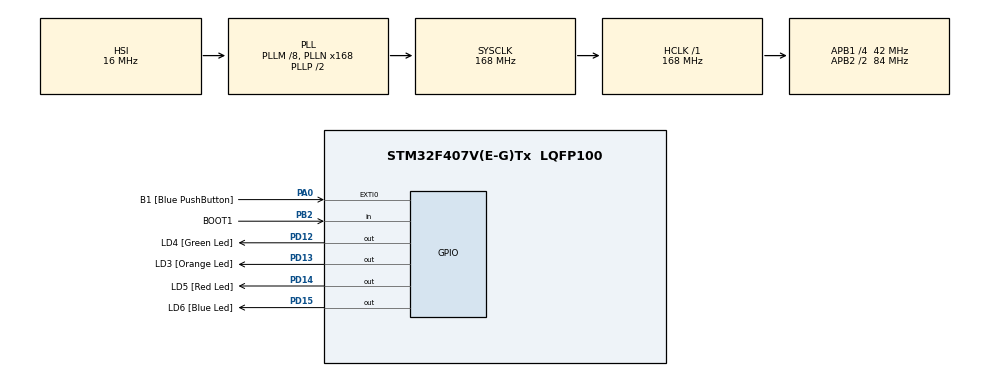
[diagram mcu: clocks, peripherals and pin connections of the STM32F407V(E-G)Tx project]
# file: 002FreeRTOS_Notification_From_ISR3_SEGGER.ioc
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Mcu.Family=STM32F4
Mcu.Name=STM32F407V(E-G)Tx
Mcu.Package=LQFP100
NVIC.EXTI0_IRQn=true\:6\:0\:true\:false\:true\:true\:true\:true
NVIC.PriorityGroup=NVIC_PRIORITYGROUP_4
NVIC.TIM1_UP_TIM10_IRQn=true\:15\:0\:false\:false\:true\:false\:true\:true
NVIC.TIM7_IRQn=true\:0\:0\:true\:false\:true\:true\:true\:true
NVIC.TimeBase=TIM1_UP_TIM10_IRQn
NVIC.TimeBaseIP=TIM10
PA0-WKUP.GPIO_Label=B1 [Blue PushButton]
PA0-WKUP.GPIO_ModeDefaultEXTI=GPIO_MODE_IT_FALLING
PA0-WKUP.Signal=GPXTI0
PA13.GPIO_Label=SWDIO
PA13.Mode=Serial_Wire
PA13.Signal=SYS_JTMS-SWDIO
PA14.GPIO_Label=SWCLK
PA14.Mode=Serial_Wire
PA14.Signal=SYS_JTCK-SWCLK
PB2.GPIO_Label=BOOT1
PB2.GPIO_Mode=GPIO_MODE_INPUT
PB2.GPIO_PuPd=GPIO_NOPULL
PB2.Signal=GPIO_Input
PB3.GPIO_Label=SWO
PB3.Signal=SYS_JTDO-SWO
PC14-OSC32_IN.GPIO_Label=PC14-OSC32_IN
PC14-OSC32_IN.Signal=RCC_OSC32_IN
PC15-OSC32_OUT.GPIO_Label=PC15-OSC32_OUT
PC15-OSC32_OUT.Signal=RCC_OSC32_OUT
PC3.GPIO_Label=PDM_OUT [MP45DT02_DOUT]
PC3.GPIO_Mode=GPIO_MODE_AF_PP
PC3.GPIO_PuPd=GPIO_NOPULL
PC3.GPIO_Speed=GPIO_SPEED_FREQ_LOW
PC3.Signal=I2S2_SD
PD12.GPIO_Label=LD4 [Green Led]
PD12.GPIO_PuPd=GPIO_NOPULL
PD12.GPIO_Speed=GPIO_SPEED_FREQ_LOW
PD12.Signal=GPIO_Output
PD13.GPIO_Label=LD3 [Orange Led]
PD13.GPIO_PuPd=GPIO_NOPULL
PD13.GPIO_Speed=GPIO_SPEED_FREQ_LOW
PD13.Signal=GPIO_Output
PD14.GPIO_Label=LD5 [Red Led]
PD14.GPIO_PuPd=GPIO_NOPULL
PD14.GPIO_Speed=GPIO_SPEED_FREQ_LOW
PD14.Signal=GPIO_Output
PD15.GPIO_Label=LD6 [Blue Led]
PD15.GPIO_PuPd=GPIO_NOPULL
PD15.GPIO_Speed=GPIO_SPEED_FREQ_LOW
PD15.Signal=GPIO_Output
PH0-OSC_IN.GPIO_Label=PH0-OSC_IN
PH0-OSC_IN.Signal=RCC_OSC_IN
PH1-OSC_OUT.GPIO_Label=PH1-OSC_OUT
PH1-OSC_OUT.Signal=RCC_OSC_OUT
ProjectManager.HeapSize=0x200
ProjectManager.StackSize=0x400
ProjectManager.TargetToolchain=STM32CubeIDE
RCC.48MHZClocksFreq_Value=48000000
RCC.AHBFreq_Value=168000000
RCC.APB1CLKDivider=RCC_HCLK_DIV4
RCC.APB1Freq_Value=42000000
RCC.APB1TimFreq_Value=84000000
RCC.APB2CLKDivider=RCC_HCLK_DIV2
RCC.APB2Freq_Value=84000000
RCC.APB2TimFreq_Value=168000000
RCC.CortexFreq_Value=168000000
RCC.HCLKFreq_Value=168000000
RCC.HSE_VALUE=8000000
RCC.HSI_VALUE=16000000
RCC.LSE_VALUE=32768
RCC.PLLM=8
RCC.PLLN=168
RCC.PLLQ=7
RCC.SYSCLKFreq_VALUE=168000000
RCC.SYSCLKSource=RCC_SYSCLKSOURCE_PLLCLK
RCC.VCOOutputFreq_Value=336000000
TIM7.AutoReloadPreload=TIM_AUTORELOAD_PRELOAD_ENABLE
TIM7.Period=59999
TIM7.Prescaler=8399
VP_SYS_VS_tim10.Mode=TIM10
VP_TIM7_VS_ClockSourceINT.Mode=Enable_Timer
board=STM32F407G-DISC1

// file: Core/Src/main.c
/* USER CODE BEGIN Header */
/**
  ******************************************************************************
  * @file           : main.c
  * @brief          : Main program body
  ******************************************************************************
  * @attention
  *
  * Copyright (c) 2024 STMicroelectronics.
  * All rights reserved.
  *
  * This software is licensed under terms that can be found in the LICENSE file
  * in the root directory of this software component.
  * If no LICENSE file comes with this software, it is provided AS-IS.
  *
  ******************************************************************************
  */
/* USER CODE END Header */
#include "main.h"

/* USER CODE BEGIN Includes */
#include "stdio.h"
#include "FreeRTOS.h"
#include "task.h"
/* USER CODE END Includes */

TIM_HandleTypeDef htim7;

void SystemClock_Config(void);
static void MX_GPIO_Init(void);
static void MX_TIM7_Init(void);
/* USER CODE BEGIN PFP */

static void taskLED_Green(void *paramters); //pd12
static void taskLED_RED(void *paramters);  //pd13
static void taskLED_Blue(void *paramters);  //pd14

TaskHandle_t taskLED_Green_Handle;
TaskHandle_t taskLED_Red_Handle;
TaskHandle_t taskLED_Blue_Handle;

TaskHandle_t taskHAndleToBeDeleted = NULL;

uint8_t isButtonPressProcessed = 0;

/* USER CODE END PFP */

int main(void)
{
  /* USER CODE BEGIN 1 */

	BaseType_t xtaskCreateStatus;

  /* USER CODE END 1 */

  /* MCU Configuration--------------------------------------------------------*/

  /* Reset of all peripherals, Initializes the Flash interface and the Systick. */
  HAL_Init();

  /* Configure the system clock */
  SystemClock_Config();

  /* Initialize all configured peripherals */
  MX_GPIO_Init();
  MX_TIM7_Init();
  /* USER CODE BEGIN 2 */

  //Enable Cycle Counting for SEGGER
   volatile uint32_t *pDWT_CTRL = (uint32_t*)0xE0001000;
  (*pDWT_CTRL) |= (1 << 0);

    SEGGER_SYSVIEW_Conf();
    SEGGER_SYSVIEW_Start();

    HAL_TIM_Base_Start_IT(&htim7);

  xtaskCreateStatus = xTaskCreate(taskLED_Green, "taskLED_Green", 200, NULL, 2, &taskLED_Green_Handle);
  configASSERT(xtaskCreateStatus == pdPASS);

  taskHAndleToBeDeleted = taskLED_Green_Handle; //do assignment after task have beeen created

  xtaskCreateStatus = xTaskCreate(taskLED_RED, "taskLED_RED", 200, NULL, 3, &taskLED_Red_Handle);
  configASSERT(xtaskCreateStatus == pdPASS);

  xtaskCreateStatus = xTaskCreate(taskLED_Blue, "taskLED_Blue", 200, NULL, 4, &taskLED_Blue_Handle);
  configASSERT(xtaskCreateStatus == pdPASS);

  //Start the scheduler
  vTaskStartScheduler();
  /* USER CODE END 2 */

  /* Infinite loop */
  while (1)
  {

  }
}

void SystemClock_Config(void)
{
  RCC_OscInitTypeDef RCC_OscInitStruct = {0};
  RCC_ClkInitTypeDef RCC_ClkInitStruct = {0};

  /** Configure the main internal regulator output voltage
  */
  __HAL_RCC_PWR_CLK_ENABLE();
  __HAL_PWR_VOLTAGESCALING_CONFIG(PWR_REGULATOR_VOLTAGE_SCALE1);

  /** Initializes the RCC Oscillators according to the specified parameters
  * in the RCC_OscInitTypeDef structure.
  */
  RCC_OscInitStruct.OscillatorType = RCC_OSCILLATORTYPE_HSI;
  RCC_OscInitStruct.HSIState = RCC_HSI_ON;
  RCC_OscInitStruct.HSICalibrationValue = RCC_HSICALIBRATION_DEFAULT;
  RCC_OscInitStruct.PLL.PLLState = RCC_PLL_ON;
  RCC_OscInitStruct.PLL.PLLSource = RCC_PLLSOURCE_HSI;
  RCC_OscInitStruct.PLL.PLLM = 8;
  RCC_OscInitStruct.PLL.PLLN = 168;
  RCC_OscInitStruct.PLL.PLLP = RCC_PLLP_DIV2;
  RCC_OscInitStruct.PLL.PLLQ = 7;
  if (HAL_RCC_OscConfig(&RCC_OscInitStruct) != HAL_OK)
  {
    Error_Handler();
  }

  /** Initializes the CPU, AHB and APB buses clocks
  */
  RCC_ClkInitStruct.ClockType = RCC_CLOCKTYPE_HCLK|RCC_CLOCKTYPE_SYSCLK
                              |RCC_CLOCKTYPE_PCLK1|RCC_CLOCKTYPE_PCLK2;
  RCC_ClkInitStruct.SYSCLKSource = RCC_SYSCLKSOURCE_PLLCLK;
  RCC_ClkInitStruct.AHBCLKDivider = RCC_SYSCLK_DIV1;
  RCC_ClkInitStruct.APB1CLKDivider = RCC_HCLK_DIV4;
  RCC_ClkInitStruct.APB2CLKDivider = RCC_HCLK_DIV2;

  if (HAL_RCC_ClockConfig(&RCC_ClkInitStruct, FLASH_LATENCY_5) != HAL_OK)
  {
    Error_Handler();
  }
}

static void MX_TIM7_Init(void)
{

  TIM_MasterConfigTypeDef sMasterConfig = {0};

  htim7.Instance = TIM7;
  htim7.Init.Prescaler = 8399;
  htim7.Init.CounterMode = TIM_COUNTERMODE_UP;
  htim7.Init.Period = 999;
  htim7.Init.AutoReloadPreload = TIM_AUTORELOAD_PRELOAD_ENABLE;
  if (HAL_TIM_Base_Init(&htim7) != HAL_OK)
  {
    Error_Handler();
  }
  sMasterConfig.MasterOutputTrigger = TIM_TRGO_RESET;
  sMasterConfig.MasterSlaveMode = TIM_MASTERSLAVEMODE_DISABLE;
  if (HAL_TIMEx_MasterConfigSynchronization(&htim7, &sMasterConfig) != HAL_OK)
  {
    Error_Handler();
  }

}

static void MX_GPIO_Init(void)
{
  GPIO_InitTypeDef GPIO_InitStruct = {0};

  /* GPIO Ports Clock Enable */
  __HAL_RCC_GPIOC_CLK_ENABLE();
  __HAL_RCC_GPIOH_CLK_ENABLE();
  __HAL_RCC_GPIOA_CLK_ENABLE();
  __HAL_RCC_GPIOB_CLK_ENABLE();
  __HAL_RCC_GPIOD_CLK_ENABLE();

  /*Configure GPIO pin Output Level */
  HAL_GPIO_WritePin(GPIOD, LD4_Pin|LD3_Pin|LD5_Pin|LD6_Pin, GPIO_PIN_RESET);

  /*Configure GPIO pin : PDM_OUT_Pin */
  GPIO_InitStruct.Pin = PDM_OUT_Pin;
  GPIO_InitStruct.Mode = GPIO_MODE_AF_PP;
  GPIO_InitStruct.Pull = GPIO_NOPULL;
  GPIO_InitStruct.Speed = GPIO_SPEED_FREQ_LOW;
  GPIO_InitStruct.Alternate = GPIO_AF5_SPI2;
  HAL_GPIO_Init(PDM_OUT_GPIO_Port, &GPIO_InitStruct);

  /*Configure GPIO pin : B1_Pin */
  GPIO_InitStruct.Pin = B1_Pin;
  GPIO_InitStruct.Mode = GPIO_MODE_IT_FALLING;
  GPIO_InitStruct.Pull = GPIO_NOPULL;
  HAL_GPIO_Init(B1_GPIO_Port, &GPIO_InitStruct);

  /*Configure GPIO pin : BOOT1_Pin */
  GPIO_InitStruct.Pin = BOOT1_Pin;
  GPIO_InitStruct.Mode = GPIO_MODE_INPUT;
  GPIO_InitStruct.Pull = GPIO_NOPULL;
  HAL_GPIO_Init(BOOT1_GPIO_Port, &GPIO_InitStruct);

  /*Configure GPIO pins : LD4_Pin LD3_Pin LD5_Pin LD6_Pin */
  GPIO_InitStruct.Pin = LD4_Pin|LD3_Pin|LD5_Pin|LD6_Pin;
  GPIO_InitStruct.Mode = GPIO_MODE_OUTPUT_PP;
  GPIO_InitStruct.Pull = GPIO_NOPULL;
  GPIO_InitStruct.Speed = GPIO_SPEED_FREQ_LOW;
  HAL_GPIO_Init(GPIOD, &GPIO_InitStruct);

  /* EXTI interrupt init*/
  HAL_NVIC_SetPriority(EXTI0_IRQn, 6, 0);
  HAL_NVIC_EnableIRQ(EXTI0_IRQn);

}

/* USER CODE BEGIN 4 */

void Button_INterrupt_Handler(void)
{
	if(!isButtonPressProcessed){
		traceISR_ENTER();

		BaseType_t pxHigherPriorityTaskWoken = pdFALSE;
		xTaskNotifyFromISR(taskHAndleToBeDeleted,0,eNoAction,&pxHigherPriorityTaskWoken);

		isButtonPressProcessed = 1;

		//Reset timer counter
		__HAL_TIM_SET_COUNTER(&htim7,0);

		portYIELD_FROM_ISR(pxHigherPriorityTaskWoken);
		traceISR_EXIT();
	}
}

static void taskLED_Green(void *paramters)
{
	BaseType_t status;
	while(1)
	{
		HAL_GPIO_TogglePin(GPIOD, GPIO_PIN_12);
		 status = xTaskNotifyWait(0,0,NULL,pdMS_TO_TICKS(800));

		if(status == pdTRUE){
			//Delete the task
			portENTER_CRITICAL();
			taskHAndleToBeDeleted = taskLED_Red_Handle;

			//TURN OFF THE LED
			HAL_GPIO_WritePin(GPIOD, GPIO_PIN_12,RESET);
			portEXIT_CRITICAL();
			vTaskDelete(NULL);
		}
		//vTaskDelay(pdMS_TO_TICKS(20));
	}
}

static void taskLED_RED(void *paramters)
{
	BaseType_t status;
	while(1)
	{
		HAL_GPIO_TogglePin(GPIOD, GPIO_PIN_13);
		 status = xTaskNotifyWait(0,0,NULL,pdMS_TO_TICKS(400));

		if(status == pdTRUE){
			//Delete the task
			portENTER_CRITICAL();
			taskHAndleToBeDeleted = taskLED_Blue_Handle;

			//TURN OFF THE LED
			HAL_GPIO_WritePin(GPIOD, GPIO_PIN_13 ,RESET);
			portEXIT_CRITICAL();
			vTaskDelete(NULL);
		}
		//vTaskDelay(pdMS_TO_TICKS(70));
	}
}

static void taskLED_Blue(void *paramters)
{
	BaseType_t status;
	while(1)
	{
		HAL_GPIO_TogglePin(GPIOD, GPIO_PIN_14);
		 status = xTaskNotifyWait(0,0,NULL,pdMS_TO_TICKS(200));

		if(status == pdTRUE){
			//Delete the task
			portENTER_CRITICAL();
			taskHAndleToBeDeleted = NULL;

			//TURN OFF THE LED
			HAL_GPIO_WritePin(GPIOD, GPIO_PIN_14 ,RESET);
			portEXIT_CRITICAL();
			vTaskDelete(NULL);
		}
		//vTaskDelay(pdMS_TO_TICKS(140));
	}
}

/* Declare a variable that will be incremented by the hook function. */
volatile uint32_t ulIdleCycleCount = 0UL;
/* Idle hook functions MUST be called vApplicationIdleHook(), take no parameters,
and return void. */
void vApplicationIdleHook( void )
{
	/* This hook function does nothing but increment a counter. */
	ulIdleCycleCount++;
}
uint32_t counterrrr = 0;
/* USER CODE END 4 */

void HAL_TIM_PeriodElapsedCallback(TIM_HandleTypeDef *htim)
{
  if (htim->Instance == TIM10) {
    HAL_IncTick();
  }
  /* USER CODE BEGIN Callback 1 */

  //TIM gives interrupt 100 ms after starting
  	if(htim->Instance == TIM7){
  		isButtonPressProcessed = 0; //Clear flag to take next button prress
  	}
  /* USER CODE END Callback 1 */
}

void Error_Handler(void)
{
  __disable_irq();
  while (1)
  {
  }
}
